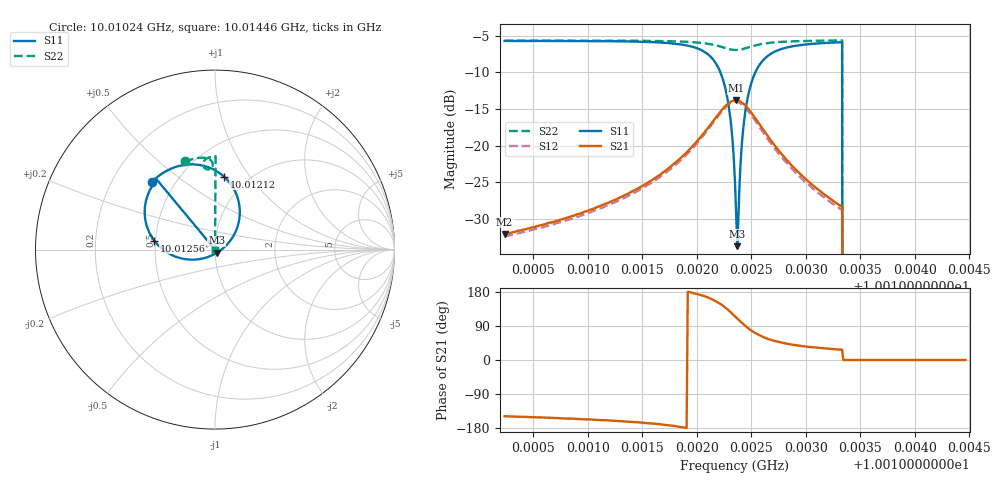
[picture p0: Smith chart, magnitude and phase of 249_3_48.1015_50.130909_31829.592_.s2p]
#  HZ  S  RI  R  50.00
! Rohde & Schwarz Vector Network Analyzer
! Rohde-Schwarz,ZNB20-2Port,1311601062101988,3.16
! Created: UTC 12/23/2023, 3:59:35 AM
! freq[Hz]  re:S11  im:S11  re:S21  im:S21  re:S12  im:S12  re:S22  im:S22
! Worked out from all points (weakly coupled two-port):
!   401 points, 10.01024 GHz to 10.01446 GHz, reference 50 ohm
!   highest |S21| = -13.82 dB at 10.01236 GHz (marker M1); lowest = -32.0 dB at 10.01024 GHz (marker M2)
!   lowest |S11| = -33.7 dB at 10.01237 GHz (marker M3), VSWR 1.04, Z = 51 - j1.83 ohm
!   |S11| at or under -10 dB: 10.01222 GHz to 10.01254 GHz (321.2 kHz wide, 0.00321 % of centre); 10.01333 GHz to end of sweep
!   |S22| runs from - to -5.7 dB; largest |S21 - S12| = 0.01
!   S11 on the Smith chart (normalised r, x): 10.01024 GHz: 0.37, +0.38; 10.01212 GHz: 0.78, +0.76; 10.01256 GHz: 0.49, +0.06; 10.01446 GHz: 1.00, +0.00
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1.0010238e10  -0.3529 0.3779  -0.0213 -0.0131  -0.0199 -0.0135  -0.1673 0.4914
1.0010946e10  -0.2966 0.4225  -0.0318 -0.014  -0.03 -0.015  -0.1209 0.5053
1.0011654e10  -0.1861 0.4693  -0.0617 -0.0117  -0.0588 -0.0143  -0.067 0.5119
1.0011949e10  -0.071 0.4687  -0.0969 0.00311  -0.0938 -0.00219  -0.0376 0.5067
1.0012118e10  0.0506 0.4061  -0.1309 0.0398  -0.1293 0.0317  -0.0185 0.4918
1.0012214e10  0.124 0.2957  -0.144 0.0882  -0.1452 0.0789  -0.0127 0.4739
1.0012277e10  0.1357 0.1717  -0.1344 0.1348  -0.1371 0.1265  -0.0172 0.4587
1.0012319e10  0.1033 0.0772  -0.1117 0.1664  -0.1167 0.1578  -0.0258 0.4504
1.0012351e10  0.054 0.0151  -0.0868 0.1841  -0.0917 0.1767  -0.0348 0.447
1.0012361e10  0.0336 -0.0023  -0.0774 0.1883  -0.0825 0.1812  -0.0379 0.4467
1.0012372e10  0.0103 -0.0179  -0.0676 0.1916  -0.0722 0.1849  -0.0413 0.4467
1.0012383e10  -0.0128 -0.0304  -0.0579 0.1937  -0.0621 0.1873  -0.0444 0.447
1.0012414e10  -0.0891 -0.0534  -0.0272 0.1946  -0.0328 0.1884  -0.053 0.4506
1.0012446e10  -0.1632 -0.0536  0.000498 0.1875  -0.00553 0.1817  -0.0599 0.4565
1.0012499e10  -0.2642 -0.0176  0.0349 0.1647  0.0286 0.1596  -0.0658 0.4687
1.0012562e10  -0.3388 0.0503  0.0558 0.1332  0.0494 0.1294  -0.0654 0.4824
1.0012773e10  -0.3909 0.232  0.0613 0.0638  0.0559 0.0632  -0.0461 0.5074
1.0013059e10  -0.358 0.3402  0.0449 0.0302  0.0415 0.0307  -0.019 0.5177
1.0013312e10  -0.3262 0.3866  0.0348 0.0182  0.0322 0.0187  0.00191 0.5207
1.0013365e10  0 0  0 0  0 0  0 0
1.0013766e10  0 0  0 0  0 0  0 0
1.0014464e10  0 0  0 0  0 0  0 0
